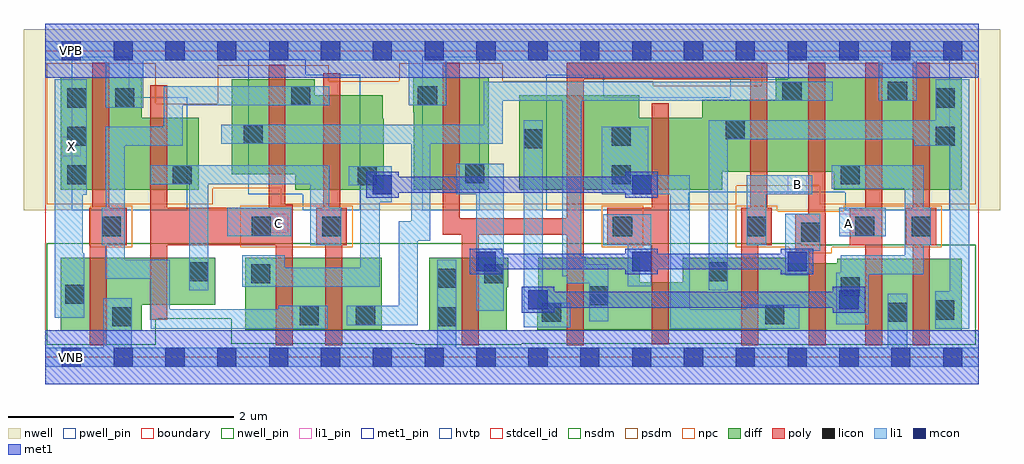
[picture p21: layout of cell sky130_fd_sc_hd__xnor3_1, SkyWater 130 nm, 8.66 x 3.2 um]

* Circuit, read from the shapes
.subckt sky130_fd_sc_hd__xnor3_1 A B C VGND VNB VPB VPWR X
XM1 VGND n1 X VNB sky130_fd_pr__nfet_01v8 w=0.65 l=0.15
XM2 n2 C VGND VNB sky130_fd_pr__nfet_01v8 w=0.42 l=0.15
XM3 n1 C n3 VNB sky130_fd_pr__nfet_01v8 w=0.64 l=0.15
XM4 n4 n2 n1 VNB sky130_fd_pr__nfet_01v8 w=0.64 l=0.15
XM5 n5 B VGND VNB sky130_fd_pr__nfet_01v8 w=0.65 l=0.15
XM6 n4 B n6 VNB sky130_fd_pr__nfet_01v8 w=0.64 l=0.15
XM7 n7 n5 n4 VNB sky130_fd_pr__nfet_01v8 w=0.42 l=0.15
XM8 n3 B n7 VNB sky130_fd_pr__nfet_01v8 w=0.64 l=0.15
XM9 n6 n5 n3 VNB sky130_fd_pr__nfet_01v8 w=0.6 l=0.15
XM10 VGND A n6 VNB sky130_fd_pr__nfet_01v8 w=0.64 l=0.15
XM11 n7 n6 VGND VNB sky130_fd_pr__nfet_01v8 w=0.64 l=0.15
XM12 VPWR n1 X VPB sky130_fd_pr__pfet_01v8_hvt w=1 l=0.15
XM13 n2 C VPWR VPB sky130_fd_pr__pfet_01v8_hvt w=0.64 l=0.15
XM14 n1 C n4 VPB sky130_fd_pr__pfet_01v8_hvt w=0.84 l=0.15
XM15 n3 n2 n1 VPB sky130_fd_pr__pfet_01v8_hvt w=0.84 l=0.15
XM16 n5 B VPWR VPB sky130_fd_pr__pfet_01v8_hvt w=1 l=0.15
XM17 n3 B n6 VPB sky130_fd_pr__pfet_01v8_hvt w=0.84 l=0.15
XM18 n7 n5 n3 VPB sky130_fd_pr__pfet_01v8_hvt w=0.64 l=0.15
XM19 n4 B n7 VPB sky130_fd_pr__pfet_01v8_hvt w=0.64 l=0.15
XM20 n6 n5 n4 VPB sky130_fd_pr__pfet_01v8_hvt w=0.84 l=0.15
XM21 VPWR A n6 VPB sky130_fd_pr__pfet_01v8_hvt w=1 l=0.15
XM22 n7 n6 VPWR VPB sky130_fd_pr__pfet_01v8_hvt w=1 l=0.15
.ends

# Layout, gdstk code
import gdstk
lib = gdstk.Library(unit=1e-6, precision=1e-09)
def R(c, l, rs):  # rectangles x0, y0, x1, y1
    for r in rs: c.add(gdstk.rectangle(r[:2], r[2:], *l))
def A(c, l, x, y, w, h, nx, ny, dx, dy):  # array of equal rectangles
    R(c, l, [(x+i*dx, y+j*dy, x+i*dx+w, y+j*dy+h) for i in range(nx) for j in range(ny)])
nwell_pin = (64, 16)
nwell = (64, 20)
diff = (65, 20)
poly = (66, 20)
licon = (66, 44)
li1_pin = (67, 16)
li1 = (67, 20)
mcon = (67, 44)
met1_pin = (68, 16)
met1 = (68, 20)
hvtp = (78, 44)
stdcell_id = (81, 4)
nsdm = (93, 44)
psdm = (94, 20)
npc = (95, 20)
pwell_pin = (122, 16)
boundary = (235, 4)

sky130_fd_sc_hd__xnor3_1 = lib.new_cell('sky130_fd_sc_hd__xnor3_1')
R(sky130_fd_sc_hd__xnor3_1, nwell_pin, [(0.145,2.635,0.315,2.805)])
R(sky130_fd_sc_hd__xnor3_1, nwell, [(-0.19,1.305,8.47,2.91)])
R(sky130_fd_sc_hd__xnor3_1, diff, [(0.135,0.235,0.855,0.465), (3.405,0.235,4.095,0.62), (6.41,0.235,8.13,0.245), (1.775,0.245,2.985,0.885), (4.365,0.245,8.13,0.52), (0.135,0.465,1.505,0.885), (4.375,0.52,8.13,0.665), (3.405,0.62,4.105,0.885), (4.375,0.665,5.275,0.885), (5.655,0.665,8.13,0.835), (5.655,0.835,6.575,0.885), (7.025,0.835,8.13,0.875), (0.135,1.485,1.36,2.125), (2.215,1.485,3,1.625), (3.27,1.485,3.935,2.175), (4.205,1.485,6.005,1.645), (6.995,1.485,8.13,1.645), (1.655,1.625,3,2.115), (4.205,1.645,8.13,2.125), (1.655,2.115,2.995,2.325), (0.135,2.125,0.855,2.485), (4.205,2.125,5.27,2.325), (5.83,2.125,8.13,2.285), (3.265,2.175,3.935,2.485), (6.48,2.285,8.13,2.485), (1.655,2.325,2.39,2.465)])
R(sky130_fd_sc_hd__xnor3_1, poly, [(0.395,0.105,0.545,0.995), (2.045,0.105,2.195,0.995), (2.485,0.105,2.635,0.995), (3.695,0.105,3.845,1.085), (4.625,0.105,4.775,1.085), (6.175,0.105,6.325,0.995), (6.775,0.105,6.925,0.945), (7.275,0.105,7.425,0.995), (7.695,0.105,7.845,0.995), (5.38,0.115,5.53,0.995), (0.93,0.335,1.08,0.995), (6.655,0.945,6.925,1.275), (0.39,0.995,0.72,1.325), (0.93,0.995,2.195,1.325), (2.405,0.995,2.675,1.325), (4.985,0.995,5.53,1.325), (6.175,0.995,6.445,1.325), (7.135,0.995,7.425,1.325), (7.635,0.995,7.905,1.325), (3.525,1.085,4.775,1.235), (3.525,1.235,3.675,2.615), (4.625,1.235,4.775,2.465), (6.77,1.275,6.925,1.28), (6.77,1.28,6.92,2.615), (0.415,1.325,0.565,2.615), (0.93,1.325,1.08,2.415), (1.98,1.325,2.195,1.355), (2.465,1.325,2.615,2.52), (5.38,1.325,5.53,2.255), (6.255,1.325,6.405,2.465), (7.275,1.325,7.425,2.615), (7.695,1.325,7.845,2.615), (1.98,1.355,2.13,2.595), (4.625,2.465,6.405,2.615)])
A(sky130_fd_sc_hd__xnor3_1, licon, 0.195, 1.535, 0.17, 0.17, 1, 3, 0, 0.34)
R(sky130_fd_sc_hd__xnor3_1, licon, [(0.595,0.275,0.765,0.445), (3.475,0.275,3.645,0.445), (2.255,0.285,2.425,0.455), (2.755,0.285,2.925,0.455), (6.385,0.295,6.555,0.465), (4.405,0.315,4.575,0.485), (7.475,0.315,7.645,0.485), (7.895,0.335,8.065,0.505), (4.825,0.46,4.995,0.63), (0.175,0.475,0.345,0.645), (7.055,0.54,7.225,0.71), (3.475,0.615,3.645,0.785), (1.825,0.655,1.995,0.825), (3.895,0.655,4.065,0.825), (1.275,0.675,1.445,0.845), (5.885,0.675,6.055,0.845), (6.705,1.025,6.875,1.195), (0.5,1.075,0.67,1.245), (1.83,1.075,2,1.245), (2.455,1.075,2.625,1.245), (5.035,1.075,5.205,1.245), (6.225,1.075,6.395,1.245), (7.185,1.075,7.355,1.245), (7.685,1.075,7.855,1.245), (2.77,1.525,2.94,1.695), (1.13,1.535,1.3,1.705), (5.025,1.535,5.195,1.705), (7.055,1.535,7.225,1.705), (3.725,1.545,3.895,1.715), (4.245,1.855,4.415,2.025), (5.025,1.875,5.195,2.045), (7.9,1.875,8.07,2.045), (1.76,1.895,1.93,2.065), (6.035,1.935,6.205,2.105), (0.62,2.215,0.79,2.385), (7.9,2.215,8.07,2.385), (2.18,2.235,2.35,2.405), (3.305,2.235,3.475,2.405), (6.54,2.275,6.71,2.445), (7.475,2.275,7.645,2.445)])
R(sky130_fd_sc_hd__xnor3_1, li1_pin, [(1.985,1.105,2.155,1.275), (7.045,1.105,7.215,1.275), (6.585,1.445,6.755,1.615), (0.145,1.785,0.315,1.955)])
R(sky130_fd_sc_hd__xnor3_1, li1, [(0,-0.085,8.28,0.085), (0.515,0.085,0.765,0.525), (3.475,0.085,3.645,0.865), (7.475,0.085,7.645,0.565), (0.935,0.255,2.505,0.425), (5.545,0.255,6.69,0.425), (7.895,0.255,8.195,0.585), (4.245,0.265,4.655,0.485), (2.675,0.285,3.305,0.455), (7.015,0.295,7.305,0.735), (4.825,0.32,4.995,0.655), (0.085,0.35,0.345,0.925), (3.825,0.415,4.065,1.445), (0.935,0.425,1.105,0.695), (2.07,0.425,2.505,0.455), (5.545,0.425,5.715,1.445), (6.225,0.425,6.69,0.465), (3.135,0.455,3.305,1.035), (4.245,0.485,4.455,0.595), (8.025,0.585,8.195,1.875), (1.275,0.595,1.445,1.535), (4.245,0.595,4.415,2.105), (5.885,0.595,6.055,1.935), (1.745,0.625,2.965,0.795), (5.165,0.63,5.375,0.995), (4.625,0.655,4.995,0.72), (0.53,0.695,1.105,0.865), (4.585,0.72,4.995,0.825), (6.565,0.73,6.77,0.945), (7.015,0.735,7.795,0.75), (7.055,0.75,7.795,0.905), (1.745,0.795,2.125,0.905), (2.795,0.795,2.965,1.375), (4.585,0.825,4.795,0.89), (0.53,0.865,0.705,0.995), (4.585,0.89,4.755,2.275), (7.625,0.905,7.795,0.995), (0.085,0.925,0.33,1.44), (6.565,0.945,6.875,1.275), (0.5,0.995,0.705,1.325), (2.35,0.995,2.625,1.325), (4.95,0.995,5.375,1.27), (6.225,0.995,6.395,1.445), (7.625,0.995,7.855,1.325), (3.135,1.035,3.415,1.205), (1.615,1.075,2.18,1.325), (7.045,1.075,7.455,1.325), (3.245,1.205,3.415,1.895), (0.535,1.325,0.705,1.875), (2.35,1.325,2.52,1.535), (7.625,1.325,7.795,1.495), (2.795,1.375,3.075,1.525), (0.085,1.44,0.365,2.465), (3.645,1.445,4.065,1.715), (4.935,1.445,5.715,1.615), (6.225,1.445,6.805,1.615), (6.975,1.495,7.795,1.705), (2.69,1.525,3.075,1.695), (0.935,1.535,2.52,1.705), (4.935,1.615,5.35,2.045), (0.535,1.875,1.22,2.045), (7.71,1.875,8.195,1.935), (1.56,1.895,4.06,2.065), (5.885,1.935,8.195,2.105), (1.05,2.045,1.22,2.235), (3.89,2.065,4.06,2.275), (7.9,2.105,8.195,2.465), (0.535,2.215,0.87,2.635), (1.05,2.235,2.52,2.405), (3.225,2.235,3.555,2.635), (3.89,2.275,6.985,2.445), (7.395,2.275,7.73,2.635), (0,2.635,8.28,2.805)])
A(sky130_fd_sc_hd__xnor3_1, mcon, 0.145, -0.085, 0.17, 0.17, 18, 2, 0.46, 2.72)
A(sky130_fd_sc_hd__xnor3_1, mcon, 3.825, 0.765, 0.17, 0.17, 3, 1, 1.38, 0)
R(sky130_fd_sc_hd__xnor3_1, mcon, [(4.285,0.425,4.455,0.595), (7.045,0.425,7.215,0.595), (2.905,1.445,3.075,1.615), (5.205,1.445,5.375,1.615)])
R(sky130_fd_sc_hd__xnor3_1, met1_pin, [(0.145,-0.085,0.315,0.085), (0.145,2.635,0.315,2.805)])
A(sky130_fd_sc_hd__xnor3_1, met1, 3.765, 0.735, 0.29, 0.045, 3, 2, 1.38, 0.185)
R(sky130_fd_sc_hd__xnor3_1, met1, [(0,-0.24,8.28,0.24), (4.225,0.395,4.515,0.44), (6.985,0.395,7.275,0.44), (4.225,0.44,7.275,0.58), (4.225,0.58,4.515,0.625), (6.985,0.58,7.275,0.625), (3.765,0.78,6.815,0.92), (2.845,1.415,3.135,1.46), (5.145,1.415,5.435,1.46), (2.845,1.46,5.435,1.6), (2.845,1.6,3.135,1.645), (5.145,1.6,5.435,1.645), (0,2.48,8.28,2.96)])
R(sky130_fd_sc_hd__xnor3_1, hvtp, [(0.235,1.305,1.26,2.305), (2.285,1.305,2.795,1.445), (3.345,1.305,3.855,2.665), (4.445,1.305,5.71,1.465), (7.095,1.305,8.025,1.465), (1.8,1.445,2.795,2.505), (4.445,1.465,8.025,2.305), (0.235,2.305,0.745,2.665), (4.445,2.305,4.955,2.505), (6.075,2.305,8.025,2.465), (6.59,2.465,8.025,2.665), (1.8,2.505,2.31,2.645)])
R(sky130_fd_sc_hd__xnor3_1, stdcell_id, [(0,0,8.28,2.72)])
R(sky130_fd_sc_hd__xnor3_1, nsdm, [(0.01,0.11,0.98,0.34), (3.28,0.11,4.22,0.12), (6.285,0.11,8.255,0.12), (1.65,0.12,8.255,0.34), (0.01,0.34,8.255,1), (0.01,1,6.7,1.01)])
R(sky130_fd_sc_hd__xnor3_1, psdm, [(0.01,1.36,1.485,1.5), (2.09,1.36,6.13,1.5), (6.87,1.36,8.255,1.52), (0.01,1.5,6.13,1.52), (0.01,1.52,8.255,2.25), (0.01,2.25,0.98,2.61), (1.53,2.25,8.255,2.41), (1.53,2.41,5.395,2.45), (6.355,2.41,8.255,2.61), (1.53,2.45,2.515,2.59), (3.14,2.45,4.06,2.61)])
R(sky130_fd_sc_hd__xnor3_1, npc, [(6.605,0.925,6.975,0.975), (0.4,0.975,0.77,1.345), (1.73,0.975,2.725,1.345), (4.935,0.975,5.305,1.345), (6.125,0.975,7.955,1.295), (6.125,1.295,6.495,1.345), (7.085,1.295,7.955,1.345)])
R(sky130_fd_sc_hd__xnor3_1, pwell_pin, [(0.145,-0.085,0.315,0.085)])
R(sky130_fd_sc_hd__xnor3_1, boundary, [(0,0,8.28,2.72)])
sky130_fd_sc_hd__xnor3_1.add(gdstk.Label('VNB', (0.23,0), layer=64, texttype=59))
sky130_fd_sc_hd__xnor3_1.add(gdstk.Label('VPB', (0.23,2.72), layer=64, texttype=5))
sky130_fd_sc_hd__xnor3_1.add(gdstk.Label('VGND', (0.23,0), layer=68, texttype=5))
sky130_fd_sc_hd__xnor3_1.add(gdstk.Label('VPWR', (0.23,2.72), layer=68, texttype=5))
sky130_fd_sc_hd__xnor3_1.add(gdstk.Label('X', (0.23,1.87), layer=67, texttype=5))
sky130_fd_sc_hd__xnor3_1.add(gdstk.Label('C', (2.07,1.19), layer=67, texttype=5))
sky130_fd_sc_hd__xnor3_1.add(gdstk.Label('B', (6.67,1.53), layer=67, texttype=5))
sky130_fd_sc_hd__xnor3_1.add(gdstk.Label('A', (7.13,1.19), layer=67, texttype=5))

lib.write_gds('sky130_fd_sc_hd__xnor3_1.gds')
